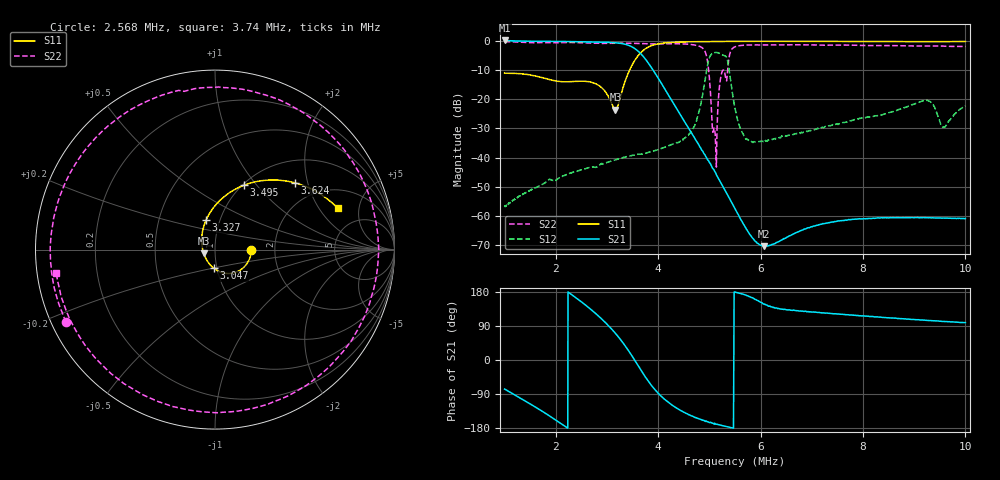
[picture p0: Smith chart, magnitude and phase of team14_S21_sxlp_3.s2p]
! TTR506A,Tektronix,B010463,Application version 2.0.1.4ead5a2e Firmware version 066185400
! Freq ReS11 ImS11 ReS21 ImS21 ReS12 ImS12 ReS22 ImS22
# HZ S RI R 50
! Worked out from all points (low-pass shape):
!   1024 points, 1 MHz to 10 MHz, reference 50 ohm
!   highest |S21| = 0.13 dB at 1 MHz (marker M1); lowest = -70.3 dB at 6.067 MHz (marker M2)
!   |S21| within 3 dB of the highest: start of sweep to 3.561 MHz
!   lowest |S11| = -23.6 dB at 3.166 MHz (marker M3), VSWR 1.14, Z = 44 - j1.84 ohm
!   |S11| at or under -10 dB: start of sweep to 3.441 MHz
!   |S22| runs from -43.2 to -0.3 dB; largest |S21 - S12| = 1
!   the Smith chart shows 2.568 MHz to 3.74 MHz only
!   S11 on the Smith chart (normalised r, x): 2.568 MHz: 1.51, -0.01; 3.047 MHz: 0.96, -0.20; 3.327 MHz: 0.86, +0.29; 3.495 MHz: 1.02, +0.86; 3.624 MHz: 1.48, +1.66; 3.74 MHz: 3.10, +3.00
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1000000  0.0988 -0.2622  0.2343 -0.9875  0.00112 0.00089  0.6368 -0.7236
1759368  -0.2114 0.0941  -0.72 -0.6639  -0.00356 0.000189  -0.0174 0.9319
2101748  0.00338 0.1999  -0.9522 -0.2092  0.00125 0.00451  0.9152 -0.1762
2505111  0.2 0.0371  -0.8581 0.4389  0.00395 -0.00475  -0.6518 -0.6603
2567909  0.203 -0.00169  -0.7993 0.5334  0.00226 -0.00602  -0.8293 -0.4034
3046990  -0.00797 -0.1029  0.0333 0.9395  -0.00648 0.00553  0.499 0.7583
3165838  -0.063 -0.0208  0.3148 0.8718  -0.00176 0.00901  0.8617 0.2916
3326551  -0.0498 0.1644  0.6506 0.6005  0.00676 0.00751  0.762 -0.5047
3495421  0.1614 0.3585  0.7717 0.1251  0.0109 -0.00151  0.00912 -0.9091
3623596  0.4441 0.3725  0.6137 -0.2044  0.00716 -0.00892  -0.6077 -0.6639
3739599  0.6827 0.2322  0.3659 -0.3404  0.000388 -0.0117  -0.8848 -0.1291
4000834  0.8419 -0.2847  0.00863 -0.2288  -0.0137 -0.000102  -0.139 0.8762
4497606  0.4828 -0.8266  -0.0323 -0.0296  0.0209 -0.000984  0.119 -0.8778
5101788  0.0383 -0.9745  -0.00569 -0.00134  -0.5013 -0.3771  -0.0109 0.0291
5507544  -0.1846 -0.9617  -0.00129 2.16e-05  -0.0179 0.0623  0.784 0.1333
6067240  -0.4141 -0.8905  -0.000257 0.000162  -0.017 -0.00904  -0.5411 0.6563
6623909  -0.578 -0.7942  -0.000316 0.000366  0.0243 -0.00502  0.0326 -0.8554
7007326  -0.6632 -0.7218  -0.000389 0.000526  -0.0287 -0.00829  -0.4606 0.7169
7313498  -0.7197 -0.6644  -0.000419 0.000636  0.00969 0.033  0.8421 0.0297
8503912  -0.863 -0.4476  -0.000335 0.000865  0.0316 -0.0496  -0.381 -0.7406
8855520  -0.8883 -0.3882  -0.000286 0.000891  -0.0648 0.0349  -0.1014 0.8118
1e7  -0.9504 -0.2171  -0.000136 0.000896  0.0663 0.0395  0.7029 -0.3863
